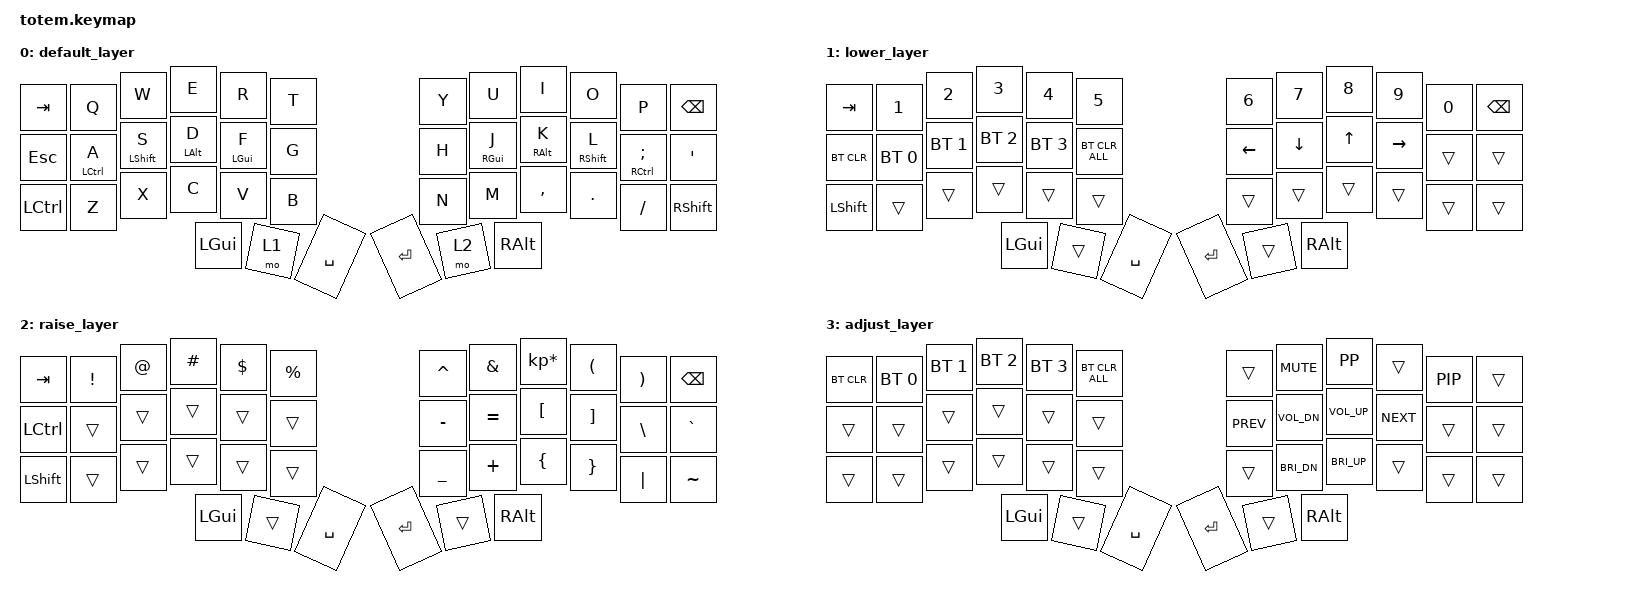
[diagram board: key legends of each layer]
#include <behaviors.dtsi>
#include <dt-bindings/zmk/keys.h>
#include <dt-bindings/zmk/bt.h>
#include <dt-bindings/zmk/outputs.h>


/ {
        behaviors {
           hm: homerow_mods {
            compatible = "zmk,behavior-hold-tap";
            #binding-cells = <2>;
            tapping-term-ms = <150>;
            quick-tap-ms = <0>;
            flavor = "tap-preferred";
            bindings = <&kp>, <&kp>;
        };
        combos {
          compatible = "zmk,combos";
          combo_esc {
            timeout-ms = <50>;
            key-positions = <7 8>;
            layers = <0>;
            bindings = <&kp ESC>;
        };
    };
        conditional_layers {
           compatible = "zmk,conditional-layers";
           tri_layer {
               if-layers = <1 2>;
               then-layer = <3>;
           }
        }
    };
        keymap {
                compatible = "zmk,keymap";

                default_layer {
// -----------------------------------------------------------------------------------------
// |  TAB |  Q  |  W  |  E  |  R  |  T  |   |  Y  |  U   |  I  |  O  |  P  | BKSP |
// | ESC |  A  |  S  |  D  |  F  |  G  |   |  H  |  J   |  K  |  L  |  ;  |  '   |
// | CTRL|  Z  |  X  |  C  |  V  |  B  |   |  N  |  M   |  ,  |  .  |  /  | SHIFT |
//                    | GUI | LWR | SPC |   | ENT | RSE  | ALT |
                        bindings = <
   &kp TAB   &kp Q &kp W &kp E &kp R &kp T   &kp Y &kp U  &kp I     &kp O   &kp P    &kp BSPC
   &kp ESC   &hm LCTRL A &hm LSHFT S &hm LALT D &hm LGUI F &kp G   &kp H &hm RGUI J  &hm RALT K     &hm RSHIFT L   &hm RCTRL SEMI &kp SQT
   &kp LCTRL &kp Z &kp X &kp C &kp V &kp B   &kp N &kp M  &kp COMMA &kp DOT &kp FSLH &kp RSHFT
                  &kp LGUI &mo 1 &kp SPACE   &kp RET &mo 2 &kp RALT
                        >;
                };
                lower_layer {
// -----------------------------------------------------------------------------------------
// |  TAB |  1  |  2  |  3  |  4  |  5  |   |  6  |  7  |  8  |  9  |  0  | BKSP |
// | BTCLR| BT1 | BT2 | BT3 | BT4 |C-ALL|   | LFT | DWN |  UP | RGT |     |      |
// | SHIFT |     |     |     |     |     |   |     |     |     |     |     |      |
//                    | GUI |     | SPC |   | ENT |     | ALT |
                        bindings = <
   &kp TAB    &kp N1       &kp N2       &kp N3       &kp N4       &kp N5         &kp N6   &kp N7   &kp N8 &kp N9    &kp N0 &kp BSPC
   &bt BT_CLR &bt BT_SEL 0 &bt BT_SEL 1 &bt BT_SEL 2 &bt BT_SEL 3 &bt BT_CLR_ALL &kp LEFT &kp DOWN &kp UP &kp RIGHT &trans &trans
   &kp LSHFT  &trans       &trans       &trans       &trans       &trans         &trans   &trans   &trans &trans    &trans &trans
                                    &kp LGUI     &trans       &kp SPACE      &kp RET  &trans   &kp RALT
                        >;
                };

                raise_layer {
// -----------------------------------------------------------------------------------------
// |  TAB |  !  |  @  |  #  |  $  |  %  |   |  ^  |  &  |  *  |  (  |  )  | BKSP |
// | CTRL |     |     |     |     |     |   |  -  |  =  |  [  |  ]  |  \  |  `   |
// | SHIFT |     |     |     |     |     |   |  _  |  +  |  {  |  }  | "|" |  ~   |
//                    | GUI |     | SPC |   | ENT |     | ALT |
                        bindings = <
   &kp  TAB  &kp EXCL &kp AT &kp HASH &kp DLLR &kp PRCNT   &kp CARET &kp AMPS  &kp KP_MULTIPLY &kp LPAR &kp RPAR &kp BSPC
   &kp LCTRL &trans   &trans &trans   &trans   &trans      &kp MINUS &kp EQUAL &kp LBKT        &kp RBKT &kp BSLH &kp GRAVE
   &kp LSHFT &trans   &trans &trans   &trans   &trans      &kp UNDER &kp PLUS  &kp LBRC        &kp RBRC &kp PIPE &kp TILDE
                             &kp LGUI &trans   &kp SPACE   &kp RET   &trans    &kp RALT
                        >;
                };
                adjust_layer {
                        bindings = <

   &bt BT_CLR &bt BT_SEL 0 &bt BT_SEL 1 &bt BT_SEL 2 &bt BT_SEL 3 &bt BT_CLR_ALL     &trans     &kp K_MUTE   &kp K_PP     &trans     &kp C_PIP &trans
   &trans     &trans       &trans       &trans       &trans       &trans             &kp K_PREV &kp K_VOL_DN &kp K_VOL_UP &kp K_NEXT &trans    &trans
   &trans     &trans       &trans       &trans       &trans       &trans             &trans     &kp C_BRI_DN &kp C_BRI_UP &trans     &trans    &trans
                                        &kp LGUI     &trans       &kp SPACE          &kp RET    &trans       &kp RALT
                        >;
                };
                extra1 {
            status = "reserved";
        };

        extra2 {
            status = "reserved";
        };
   };
};
